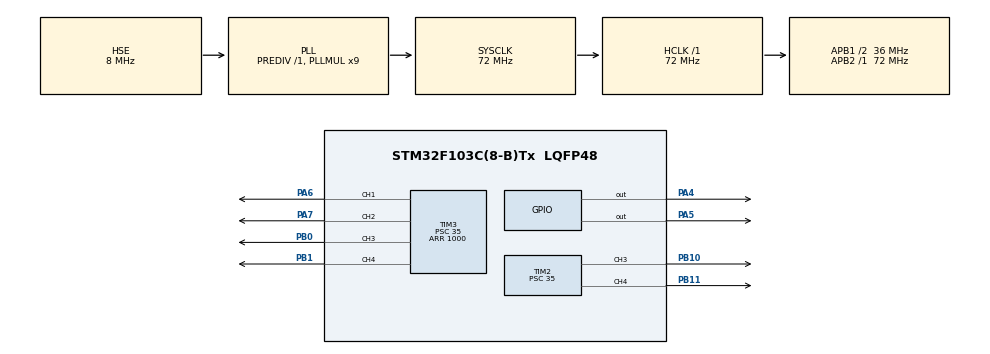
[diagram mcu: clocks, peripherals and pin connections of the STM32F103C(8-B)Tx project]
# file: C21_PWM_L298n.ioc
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Mcu.Family=STM32F1
Mcu.Name=STM32F103C(8-B)Tx
Mcu.Package=LQFP48
NVIC.PriorityGroup=NVIC_PRIORITYGROUP_4
PA13.Mode=Serial_Wire
PA13.Signal=SYS_JTMS-SWDIO
PA14.Mode=Serial_Wire
PA14.Signal=SYS_JTCK-SWCLK
PA4.Signal=GPIO_Output
PA5.Signal=GPIO_Output
PA6.Signal=S_TIM3_CH1
PA7.Signal=S_TIM3_CH2
PB0.Signal=S_TIM3_CH3
PB1.Signal=S_TIM3_CH4
PB10.Signal=S_TIM2_CH3
PB11.Signal=S_TIM2_CH4
PD0-OSC_IN.Mode=HSE-External-Oscillator
PD0-OSC_IN.Signal=RCC_OSC_IN
PD1-OSC_OUT.Mode=HSE-External-Oscillator
PD1-OSC_OUT.Signal=RCC_OSC_OUT
ProjectManager.HeapSize=0x200
ProjectManager.StackSize=0x400
ProjectManager.TargetToolchain=STM32CubeIDE
RCC.AHBFreq_Value=72000000
RCC.APB1CLKDivider=RCC_HCLK_DIV2
RCC.APB1Freq_Value=36000000
RCC.APB1TimFreq_Value=72000000
RCC.APB2Freq_Value=72000000
RCC.APB2TimFreq_Value=72000000
RCC.HCLKFreq_Value=72000000
RCC.PLLMUL=RCC_PLL_MUL9
RCC.PLLSourceVirtual=RCC_PLLSOURCE_HSE
RCC.SYSCLKFreq_VALUE=72000000
RCC.SYSCLKSource=RCC_SYSCLKSOURCE_PLLCLK
RCC.USBFreq_Value=72000000
SH.S_TIM2_CH3.0=TIM2_CH3,PWM Generation3 CH3
SH.S_TIM2_CH4.0=TIM2_CH4,PWM Generation4 CH4
SH.S_TIM3_CH1.0=TIM3_CH1,PWM Generation1 CH1
SH.S_TIM3_CH2.0=TIM3_CH2,PWM Generation2 CH2
SH.S_TIM3_CH3.0=TIM3_CH3,PWM Generation3 CH3
SH.S_TIM3_CH4.0=TIM3_CH4,PWM Generation4 CH4
TIM2.Channel-PWM\ Generation3\ CH3=TIM_CHANNEL_3
TIM2.Channel-PWM\ Generation4\ CH4=TIM_CHANNEL_4
TIM2.Period=19999
TIM2.Prescaler=35
TIM3.Channel-PWM\ Generation1\ CH1=TIM_CHANNEL_1
TIM3.Channel-PWM\ Generation2\ CH2=TIM_CHANNEL_2
TIM3.Channel-PWM\ Generation3\ CH3=TIM_CHANNEL_3
TIM3.Channel-PWM\ Generation4\ CH4=TIM_CHANNEL_4
TIM3.Period=1000
TIM3.Prescaler=35
TIM3.Pulse-PWM\ Generation3\ CH3=1000
VP_TIM2_VS_ClockSourceINT.Mode=Internal
VP_TIM3_VS_ClockSourceINT.Mode=Internal
board=custom

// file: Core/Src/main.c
/* USER CODE BEGIN Header */
/**
  ******************************************************************************
  * @file           : main.c
  * @brief          : Main program body
  ******************************************************************************
  * @attention
  *
  * <h2><center>&copy; Copyright (c) 2020 STMicroelectronics.
  * All rights reserved.</center></h2>
  *
  * This software component is licensed by ST under BSD 3-Clause license,
  * the "License"; You may not use this file except in compliance with the
  * License. You may obtain a copy of the License at:
  *                        opensource.org/licenses/BSD-3-Clause
  *
  ******************************************************************************
  */
/* USER CODE END Header */
#include "main.h"

TIM_HandleTypeDef htim2;
TIM_HandleTypeDef htim3;

void SystemClock_Config(void);
static void MX_GPIO_Init(void);
static void MX_TIM3_Init(void);
static void MX_TIM2_Init(void);

int main(void)
{

  /* MCU Configuration--------------------------------------------------------*/

  /* Reset of all peripherals, Initializes the Flash interface and the Systick. */
  HAL_Init();

  /* Configure the system clock */
  SystemClock_Config();

  /* Initialize all configured peripherals */
  MX_GPIO_Init();
  MX_TIM3_Init();
  MX_TIM2_Init();
  /* USER CODE BEGIN 2 */
  HAL_TIM_PWM_Start(&htim2,TIM_CHANNEL_3);
  HAL_TIM_PWM_Start(&htim2,TIM_CHANNEL_4);
  HAL_TIM_PWM_Start(&htim3,TIM_CHANNEL_3);
  HAL_TIM_PWM_Start(&htim3,TIM_CHANNEL_4);
  /* USER CODE END 2 */

  /* Infinite loop */
  while (1)
  {

    /* USER CODE BEGIN 3 */
        HAL_GPIO_WritePin(GPIOA,GPIO_PIN_4,GPIO_PIN_RESET);
        HAL_GPIO_WritePin(GPIOA,GPIO_PIN_5,GPIO_PIN_RESET);

        __HAL_TIM_SET_COMPARE(&htim2, TIM_CHANNEL_3, 1000);
        __HAL_TIM_SET_COMPARE(&htim2, TIM_CHANNEL_4, 1000);

	    __HAL_TIM_SET_COMPARE(&htim3, TIM_CHANNEL_3, 400);
	    __HAL_TIM_SET_COMPARE(&htim3, TIM_CHANNEL_4, 999);
	    HAL_Delay(1000);

        HAL_GPIO_WritePin(GPIOA,GPIO_PIN_4,GPIO_PIN_SET);
        HAL_GPIO_WritePin(GPIOA,GPIO_PIN_5,GPIO_PIN_SET);

        __HAL_TIM_SET_COMPARE(&htim2, TIM_CHANNEL_3, 2000);
        __HAL_TIM_SET_COMPARE(&htim2, TIM_CHANNEL_4, 2000);

	    __HAL_TIM_SET_COMPARE(&htim3, TIM_CHANNEL_3, 400);
	    __HAL_TIM_SET_COMPARE(&htim3, TIM_CHANNEL_4, 999);
	    HAL_Delay(1000);
  }
  /* USER CODE END 3 */
}

void SystemClock_Config(void)
{
  RCC_OscInitTypeDef RCC_OscInitStruct = {0};
  RCC_ClkInitTypeDef RCC_ClkInitStruct = {0};

  /** Initializes the RCC Oscillators according to the specified parameters
  * in the RCC_OscInitTypeDef structure.
  */
  RCC_OscInitStruct.OscillatorType = RCC_OSCILLATORTYPE_HSE;
  RCC_OscInitStruct.HSEState = RCC_HSE_ON;
  RCC_OscInitStruct.HSEPredivValue = RCC_HSE_PREDIV_DIV1;
  RCC_OscInitStruct.HSIState = RCC_HSI_ON;
  RCC_OscInitStruct.PLL.PLLState = RCC_PLL_ON;
  RCC_OscInitStruct.PLL.PLLSource = RCC_PLLSOURCE_HSE;
  RCC_OscInitStruct.PLL.PLLMUL = RCC_PLL_MUL9;
  if (HAL_RCC_OscConfig(&RCC_OscInitStruct) != HAL_OK)
  {
    Error_Handler();
  }
  /** Initializes the CPU, AHB and APB buses clocks
  */
  RCC_ClkInitStruct.ClockType = RCC_CLOCKTYPE_HCLK|RCC_CLOCKTYPE_SYSCLK
                              |RCC_CLOCKTYPE_PCLK1|RCC_CLOCKTYPE_PCLK2;
  RCC_ClkInitStruct.SYSCLKSource = RCC_SYSCLKSOURCE_PLLCLK;
  RCC_ClkInitStruct.AHBCLKDivider = RCC_SYSCLK_DIV1;
  RCC_ClkInitStruct.APB1CLKDivider = RCC_HCLK_DIV2;
  RCC_ClkInitStruct.APB2CLKDivider = RCC_HCLK_DIV1;

  if (HAL_RCC_ClockConfig(&RCC_ClkInitStruct, FLASH_LATENCY_2) != HAL_OK)
  {
    Error_Handler();
  }
}

static void MX_TIM2_Init(void)
{

  TIM_ClockConfigTypeDef sClockSourceConfig = {0};
  TIM_MasterConfigTypeDef sMasterConfig = {0};
  TIM_OC_InitTypeDef sConfigOC = {0};

  htim2.Instance = TIM2;
  htim2.Init.Prescaler = 35;
  htim2.Init.CounterMode = TIM_COUNTERMODE_UP;
  htim2.Init.Period = 19999;
  htim2.Init.ClockDivision = TIM_CLOCKDIVISION_DIV1;
  htim2.Init.AutoReloadPreload = TIM_AUTORELOAD_PRELOAD_DISABLE;
  if (HAL_TIM_Base_Init(&htim2) != HAL_OK)
  {
    Error_Handler();
  }
  sClockSourceConfig.ClockSource = TIM_CLOCKSOURCE_INTERNAL;
  if (HAL_TIM_ConfigClockSource(&htim2, &sClockSourceConfig) != HAL_OK)
  {
    Error_Handler();
  }
  if (HAL_TIM_PWM_Init(&htim2) != HAL_OK)
  {
    Error_Handler();
  }
  sMasterConfig.MasterOutputTrigger = TIM_TRGO_RESET;
  sMasterConfig.MasterSlaveMode = TIM_MASTERSLAVEMODE_DISABLE;
  if (HAL_TIMEx_MasterConfigSynchronization(&htim2, &sMasterConfig) != HAL_OK)
  {
    Error_Handler();
  }
  sConfigOC.OCMode = TIM_OCMODE_PWM1;
  sConfigOC.Pulse = 0;
  sConfigOC.OCPolarity = TIM_OCPOLARITY_HIGH;
  sConfigOC.OCFastMode = TIM_OCFAST_DISABLE;
  if (HAL_TIM_PWM_ConfigChannel(&htim2, &sConfigOC, TIM_CHANNEL_3) != HAL_OK)
  {
    Error_Handler();
  }
  if (HAL_TIM_PWM_ConfigChannel(&htim2, &sConfigOC, TIM_CHANNEL_4) != HAL_OK)
  {
    Error_Handler();
  }
  HAL_TIM_MspPostInit(&htim2);

}

static void MX_TIM3_Init(void)
{

  TIM_ClockConfigTypeDef sClockSourceConfig = {0};
  TIM_MasterConfigTypeDef sMasterConfig = {0};
  TIM_OC_InitTypeDef sConfigOC = {0};

  htim3.Instance = TIM3;
  htim3.Init.Prescaler = 35;
  htim3.Init.CounterMode = TIM_COUNTERMODE_UP;
  htim3.Init.Period = 1000;
  htim3.Init.ClockDivision = TIM_CLOCKDIVISION_DIV1;
  htim3.Init.AutoReloadPreload = TIM_AUTORELOAD_PRELOAD_DISABLE;
  if (HAL_TIM_Base_Init(&htim3) != HAL_OK)
  {
    Error_Handler();
  }
  sClockSourceConfig.ClockSource = TIM_CLOCKSOURCE_INTERNAL;
  if (HAL_TIM_ConfigClockSource(&htim3, &sClockSourceConfig) != HAL_OK)
  {
    Error_Handler();
  }
  if (HAL_TIM_PWM_Init(&htim3) != HAL_OK)
  {
    Error_Handler();
  }
  sMasterConfig.MasterOutputTrigger = TIM_TRGO_RESET;
  sMasterConfig.MasterSlaveMode = TIM_MASTERSLAVEMODE_DISABLE;
  if (HAL_TIMEx_MasterConfigSynchronization(&htim3, &sMasterConfig) != HAL_OK)
  {
    Error_Handler();
  }
  sConfigOC.OCMode = TIM_OCMODE_PWM1;
  sConfigOC.Pulse = 0;
  sConfigOC.OCPolarity = TIM_OCPOLARITY_HIGH;
  sConfigOC.OCFastMode = TIM_OCFAST_DISABLE;
  if (HAL_TIM_PWM_ConfigChannel(&htim3, &sConfigOC, TIM_CHANNEL_1) != HAL_OK)
  {
    Error_Handler();
  }
  if (HAL_TIM_PWM_ConfigChannel(&htim3, &sConfigOC, TIM_CHANNEL_2) != HAL_OK)
  {
    Error_Handler();
  }
  sConfigOC.Pulse = 1000;
  if (HAL_TIM_PWM_ConfigChannel(&htim3, &sConfigOC, TIM_CHANNEL_3) != HAL_OK)
  {
    Error_Handler();
  }
  sConfigOC.Pulse = 0;
  if (HAL_TIM_PWM_ConfigChannel(&htim3, &sConfigOC, TIM_CHANNEL_4) != HAL_OK)
  {
    Error_Handler();
  }
  HAL_TIM_MspPostInit(&htim3);

}

static void MX_GPIO_Init(void)
{
  GPIO_InitTypeDef GPIO_InitStruct = {0};

  /* GPIO Ports Clock Enable */
  __HAL_RCC_GPIOD_CLK_ENABLE();
  __HAL_RCC_GPIOA_CLK_ENABLE();
  __HAL_RCC_GPIOB_CLK_ENABLE();

  /*Configure GPIO pin Output Level */
  HAL_GPIO_WritePin(GPIOA, GPIO_PIN_4|GPIO_PIN_5, GPIO_PIN_RESET);

  /*Configure GPIO pins : PA4 PA5 */
  GPIO_InitStruct.Pin = GPIO_PIN_4|GPIO_PIN_5;
  GPIO_InitStruct.Mode = GPIO_MODE_OUTPUT_PP;
  GPIO_InitStruct.Pull = GPIO_NOPULL;
  GPIO_InitStruct.Speed = GPIO_SPEED_FREQ_LOW;
  HAL_GPIO_Init(GPIOA, &GPIO_InitStruct);

}

void Error_Handler(void)
{
}

/************************ (C) COPYRIGHT STMicroelectronics *****END OF FILE****/
